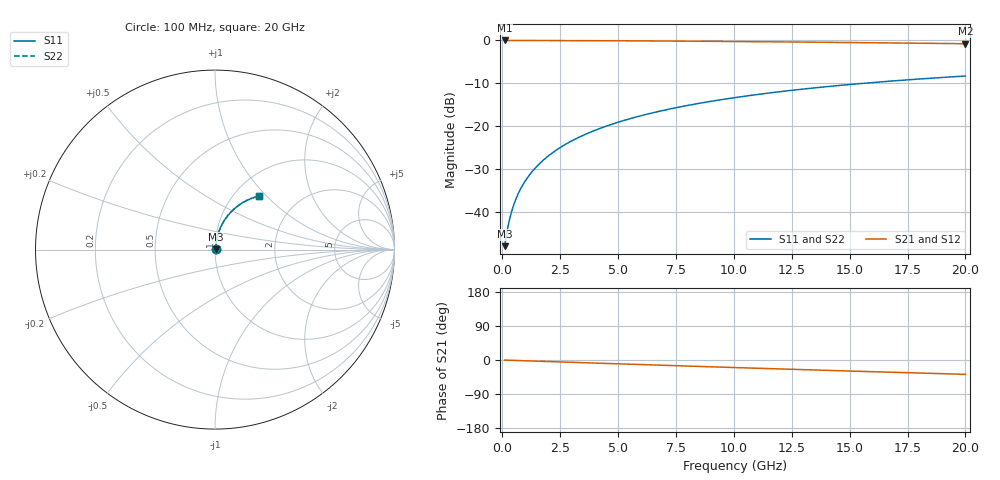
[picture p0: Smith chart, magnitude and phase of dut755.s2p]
! Touchstone file exported from HFSS 2026.1.0
!  File:  C:/ffzhzh/LocalFiles/Ansys_Project_Files/temp_train_BSMRDL_755_1783168917_18472.aedt
!  Generated:  08:43:13 PM Jul  4, 2026
!  Design:  BSMRDL
!  Project:  temp_train_BSMRDL_755_1783168917_18472
! Variables:
!  h_bsmrdl = 2.83um
!  h_ox = 20um
!  h_rdl = 5um
!  h_sub = 80um
!  h_tmrdl = 5um
!  h_tsv = 80um
!  h_via = 3um
!  l_bsmrdl = 509.65um
!  l_sub = 909.65um
!  l_tmrdl = 200um
!  m_sub = 200um
!  pitch = 52.66um
!  r_tsv = 6um
!  s_tmrdl = 10um
!  w_bsmrdl = 21.6um
!  w_sub = 500um
!  w_tmrdl = 12um
!  x_tsv_center1 = 206um
!  x_tsv_center2 = 737.25um
!  x_tsv_center3 = 949.25um
!  x_tsv_center4 = 1480.5um
!  x_tsv_center5 = 1692.5um
!  x_tsv_center6 = 2223.75um
# GHz S MA R 50.000000
! Terminal data exported
! Port[1] = BSM_RDL1_1_T1
! Port[2] = BSM_RDL1_1_T2
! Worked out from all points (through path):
!   200 points, 100 MHz to 20 GHz, reference 50 ohm
!   highest |S21| = -0.03 dB at 100 MHz (marker M1); lowest = -0.8 dB at 20 GHz (marker M2)
!   group delay of S21, straight-line fit = 5.27 ps
!   lowest |S11| = -47.9 dB at 100 MHz (marker M3), VSWR 1.01, Z = 50.3 + j0.245 ohm
!   |S11| at or under -10 dB: start of sweep to 15.6 GHz
!   |S22| runs from -47.9 to -8.3 dB; largest |S21 - S12| = 2.6e-15
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0.1  0.004019 37.2  0.9968 -0.2  0.9968 -0.2  0.004019 37.2
! Gamma 0 0 0 0
! Port Impedance 50 0 50 0
0.2  0.005856 55.4  0.9967 -0.4  0.9967 -0.4  0.005856 55.4
0.3  0.007961 64.0  0.9966 -0.6  0.9966 -0.6  0.007961 64.0
0.4  0.01013 68.7  0.9964 -0.8  0.9964 -0.8  0.01013 68.7
0.5  0.01231 71.7  0.9963 -1.0  0.9963 -1.0  0.01231 71.7
0.6  0.01449 73.8  0.9962 -1.2  0.9962 -1.2  0.01449 73.8
0.8  0.01886 76.5  0.996 -1.7  0.996 -1.7  0.01886 76.5
1.1  0.02546 78.7  0.9957 -2.3  0.9957 -2.3  0.02546 78.7
1.3  0.02987 79.5  0.9955 -2.7  0.9955 -2.7  0.02987 79.5
1.6  0.03652 80.2  0.9952 -3.3  0.9952 -3.3  0.03652 80.2
2.1  0.04762 80.6  0.9946 -4.3  0.9946 -4.3  0.04762 80.6
2.7  0.06093 80.4  0.9938 -5.5  0.9938 -5.5  0.06093 80.4
3.5  0.07861 79.5  0.9923 -7.1  0.9923 -7.1  0.07861 79.5
4.2  0.09396 78.5  0.9908 -8.5  0.9908 -8.5  0.09396 78.5
5  0.1114 77.3  0.9887 -10.1  0.9887 -10.1  0.1114 77.3
5.9  0.1307 75.7  0.986 -11.9  0.986 -11.9  0.1307 75.7
6.8  0.1497 74.1  0.9829 -13.7  0.9829 -13.7  0.1497 74.1
8.3  0.1807 71.4  0.9772 -16.6  0.9772 -16.6  0.1807 71.4
10.1  0.2165 68.1  0.9692 -20.1  0.9692 -20.1  0.2165 68.1
13.4  0.2782 62.1  0.9523 -26.2  0.9523 -26.2  0.2782 62.1
16.7  0.3342 56.3  0.9335 -32.2  0.9335 -32.2  0.3342 56.3
20  0.3843 50.8  0.9136 -37.8  0.9136 -37.8  0.3843 50.7
